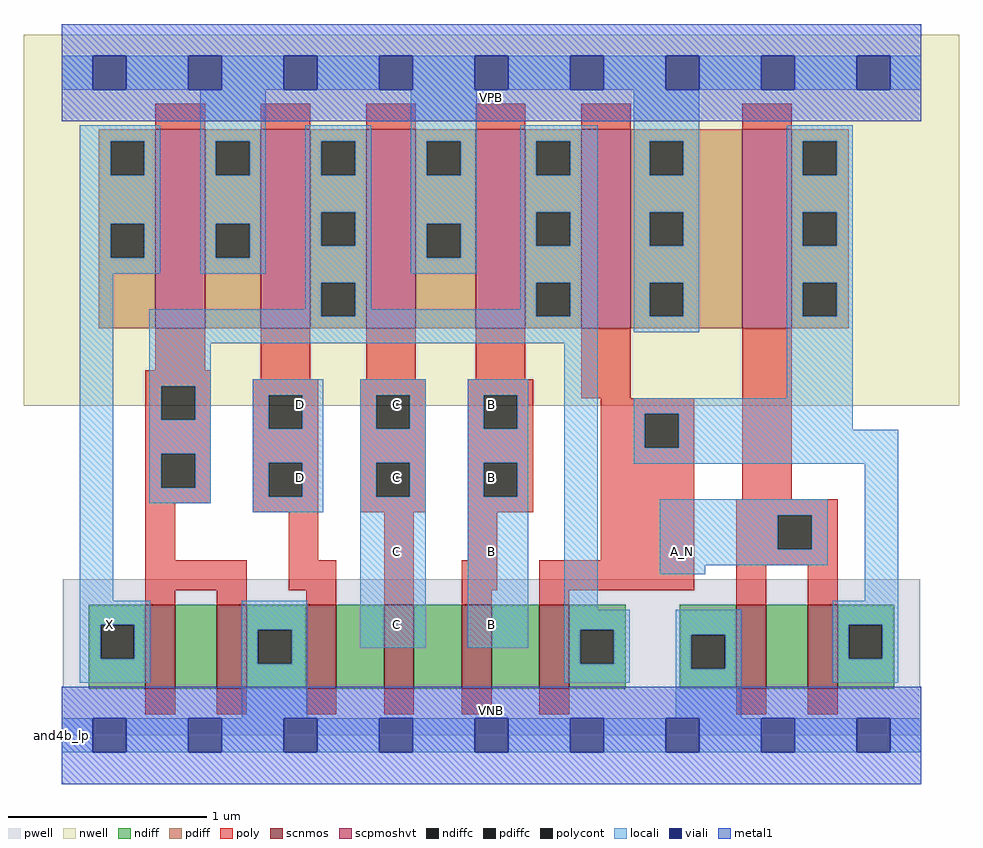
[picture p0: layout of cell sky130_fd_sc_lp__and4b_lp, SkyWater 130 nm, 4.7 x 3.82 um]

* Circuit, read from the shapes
.subckt sky130_fd_sc_lp__and4b_lp A_N B C D VGND VNB VPB VPWR X
XM1 n1 n2 X VNB sky130_fd_pr__nfet_01v8 w=0.42 l=0.15
XM2 VGND n2 n1 VNB sky130_fd_pr__nfet_01v8 w=0.42 l=0.15
XM3 n3 D VGND VNB sky130_fd_pr__nfet_01v8 w=0.42 l=0.15
XM4 n4 C n3 VNB sky130_fd_pr__nfet_01v8 w=0.42 l=0.15
XM5 n5 B n4 VNB sky130_fd_pr__nfet_01v8 w=0.42 l=0.15
XM6 n2 n6 n5 VNB sky130_fd_pr__nfet_01v8 w=0.42 l=0.15
XM7 n7 A_N VGND VNB sky130_fd_pr__nfet_01v8 w=0.42 l=0.15
XM8 n6 A_N n7 VNB sky130_fd_pr__nfet_01v8 w=0.42 l=0.15
XM9 VPWR n2 X VPB sky130_fd_pr__pfet_01v8_hvt w=1 l=0.25
XM10 n2 D VPWR VPB sky130_fd_pr__pfet_01v8_hvt w=1 l=0.25
XM11 VPWR C n2 VPB sky130_fd_pr__pfet_01v8_hvt w=1 l=0.25
XM12 n2 B VPWR VPB sky130_fd_pr__pfet_01v8_hvt w=1 l=0.25
XM13 VPWR n6 n2 VPB sky130_fd_pr__pfet_01v8_hvt w=1 l=0.25
XM14 n6 A_N VPWR VPB sky130_fd_pr__pfet_01v8_hvt w=1 l=0.25
.ends

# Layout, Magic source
magic
tech sky130A
magscale 1 2
<< nwell >>
rect -38 331 902 704
<< pwell >>
rect 1 49 863 157
rect 0 0 864 49
<< scnmos >>
rect 84 47 114 131
rect 156 47 186 131
rect 246 47 276 131
rect 324 47 354 131
rect 402 47 432 131
rect 480 47 510 131
rect 678 47 708 131
rect 750 47 780 131
<< scpmoshvt >>
rect 94 409 144 609
rect 200 409 250 609
rect 306 409 356 609
rect 416 409 466 609
rect 522 409 572 609
rect 684 409 734 609
<< ndiff >>
rect 27 111 84 131
rect 27 77 39 111
rect 73 77 84 111
rect 27 47 84 77
rect 114 47 156 131
rect 186 106 246 131
rect 186 72 197 106
rect 231 72 246 106
rect 186 47 246 72
rect 276 47 324 131
rect 354 47 402 131
rect 432 47 480 131
rect 510 106 567 131
rect 510 72 521 106
rect 555 72 567 106
rect 510 47 567 72
rect 621 101 678 131
rect 621 67 633 101
rect 667 67 678 101
rect 621 47 678 67
rect 708 47 750 131
rect 780 111 837 131
rect 780 77 791 111
rect 825 77 837 111
rect 780 47 837 77
<< pdiff >>
rect 37 597 94 609
rect 37 563 49 597
rect 83 563 94 597
rect 37 514 94 563
rect 37 480 49 514
rect 83 480 94 514
rect 37 409 94 480
rect 144 597 200 609
rect 144 563 155 597
rect 189 563 200 597
rect 144 514 200 563
rect 144 480 155 514
rect 189 480 200 514
rect 144 409 200 480
rect 250 597 306 609
rect 250 563 261 597
rect 295 563 306 597
rect 250 526 306 563
rect 250 492 261 526
rect 295 492 306 526
rect 250 455 306 492
rect 250 421 261 455
rect 295 421 306 455
rect 250 409 306 421
rect 356 597 416 609
rect 356 563 367 597
rect 401 563 416 597
rect 356 514 416 563
rect 356 480 367 514
rect 401 480 416 514
rect 356 409 416 480
rect 466 597 522 609
rect 466 563 477 597
rect 511 563 522 597
rect 466 526 522 563
rect 466 492 477 526
rect 511 492 522 526
rect 466 455 522 492
rect 466 421 477 455
rect 511 421 522 455
rect 466 409 522 421
rect 572 597 684 609
rect 572 563 591 597
rect 625 563 684 597
rect 572 526 684 563
rect 572 492 591 526
rect 625 492 684 526
rect 572 455 684 492
rect 572 421 591 455
rect 625 421 684 455
rect 572 409 684 421
rect 734 597 791 609
rect 734 563 745 597
rect 779 563 791 597
rect 734 526 791 563
rect 734 492 745 526
rect 779 492 791 526
rect 734 455 791 492
rect 734 421 745 455
rect 779 421 791 455
rect 734 409 791 421
<< ndiffc >>
rect 39 77 73 111
rect 197 72 231 106
rect 521 72 555 106
rect 633 67 667 101
rect 791 77 825 111
<< pdiffc >>
rect 49 563 83 597
rect 49 480 83 514
rect 155 563 189 597
rect 155 480 189 514
rect 261 563 295 597
rect 261 492 295 526
rect 261 421 295 455
rect 367 563 401 597
rect 367 480 401 514
rect 477 563 511 597
rect 477 492 511 526
rect 477 421 511 455
rect 591 563 625 597
rect 591 492 625 526
rect 591 421 625 455
rect 745 563 779 597
rect 745 492 779 526
rect 745 421 779 455
<< poly >>
rect 94 609 144 635
rect 200 609 250 635
rect 306 609 356 635
rect 416 609 466 635
rect 522 609 572 635
rect 684 609 734 635
rect 94 367 144 409
rect 84 351 150 367
rect 200 358 250 409
rect 306 358 356 409
rect 416 358 466 409
rect 84 317 100 351
rect 134 317 150 351
rect 84 283 150 317
rect 84 249 100 283
rect 134 249 150 283
rect 84 233 150 249
rect 192 342 258 358
rect 192 308 208 342
rect 242 308 258 342
rect 192 274 258 308
rect 192 240 208 274
rect 242 240 258 274
rect 84 176 114 233
rect 192 224 258 240
rect 300 342 366 358
rect 300 308 316 342
rect 350 308 366 342
rect 300 274 366 308
rect 300 240 316 274
rect 350 240 366 274
rect 300 224 366 240
rect 408 342 474 358
rect 408 308 424 342
rect 458 308 474 342
rect 522 339 572 409
rect 408 274 474 308
rect 408 240 424 274
rect 458 240 474 274
rect 408 224 474 240
rect 542 323 636 339
rect 542 289 586 323
rect 620 289 636 323
rect 228 176 258 224
rect 84 146 186 176
rect 228 146 276 176
rect 84 131 114 146
rect 156 131 186 146
rect 246 131 276 146
rect 324 131 354 224
rect 408 176 438 224
rect 542 176 636 289
rect 684 237 734 409
rect 402 146 438 176
rect 480 146 636 176
rect 678 221 780 237
rect 678 187 720 221
rect 754 187 780 221
rect 678 171 780 187
rect 402 131 432 146
rect 480 131 510 146
rect 678 131 708 171
rect 750 131 780 171
rect 84 21 114 47
rect 156 21 186 47
rect 246 21 276 47
rect 324 21 354 47
rect 402 21 432 47
rect 480 21 510 47
rect 678 21 708 47
rect 750 21 780 47
<< polycont >>
rect 100 317 134 351
rect 100 249 134 283
rect 208 308 242 342
rect 208 240 242 274
rect 316 308 350 342
rect 316 240 350 274
rect 424 308 458 342
rect 424 240 458 274
rect 586 289 620 323
rect 720 187 754 221
<< locali >>
rect 0 649 31 683
rect 65 649 127 683
rect 161 649 223 683
rect 257 649 319 683
rect 353 649 415 683
rect 449 649 511 683
rect 545 649 607 683
rect 641 649 703 683
rect 737 649 799 683
rect 833 649 864 683
rect 18 597 99 613
rect 18 563 49 597
rect 83 563 99 597
rect 18 514 99 563
rect 18 480 49 514
rect 83 480 99 514
rect 18 464 99 480
rect 139 597 205 649
rect 139 563 155 597
rect 189 563 205 597
rect 139 514 205 563
rect 139 480 155 514
rect 189 480 205 514
rect 139 464 205 480
rect 245 597 311 613
rect 245 563 261 597
rect 295 563 311 597
rect 245 526 311 563
rect 245 492 261 526
rect 295 492 311 526
rect 18 135 52 464
rect 245 455 311 492
rect 351 597 417 649
rect 351 563 367 597
rect 401 563 417 597
rect 351 514 417 563
rect 351 480 367 514
rect 401 480 417 514
rect 351 464 417 480
rect 461 597 539 613
rect 461 563 477 597
rect 511 563 539 597
rect 461 526 539 563
rect 461 492 477 526
rect 511 492 539 526
rect 245 428 261 455
rect 88 421 261 428
rect 295 428 311 455
rect 461 455 539 492
rect 461 428 477 455
rect 295 421 477 428
rect 511 421 539 455
rect 88 394 539 421
rect 575 597 641 649
rect 575 563 591 597
rect 625 563 641 597
rect 575 526 641 563
rect 575 492 591 526
rect 625 492 641 526
rect 575 455 641 492
rect 575 421 591 455
rect 625 421 641 455
rect 575 405 641 421
rect 729 597 795 613
rect 729 563 745 597
rect 779 563 795 597
rect 729 526 795 563
rect 729 492 745 526
rect 779 492 795 526
rect 729 455 795 492
rect 729 421 745 455
rect 779 421 795 455
rect 88 351 150 394
rect 88 317 100 351
rect 134 317 150 351
rect 88 283 150 317
rect 88 249 100 283
rect 134 249 150 283
rect 88 233 150 249
rect 192 342 263 358
rect 192 308 208 342
rect 242 308 263 342
rect 192 274 263 308
rect 192 240 208 274
rect 242 240 263 274
rect 192 224 263 240
rect 300 342 366 358
rect 300 308 316 342
rect 350 308 366 342
rect 300 274 366 308
rect 300 240 316 274
rect 350 240 366 274
rect 18 111 89 135
rect 18 77 39 111
rect 73 77 89 111
rect 18 53 89 77
rect 181 106 247 135
rect 181 72 197 106
rect 231 72 247 106
rect 300 88 366 240
rect 408 342 469 358
rect 408 308 424 342
rect 458 308 469 342
rect 408 274 469 308
rect 408 240 424 274
rect 458 240 469 274
rect 408 88 469 240
rect 505 126 539 394
rect 729 339 795 421
rect 575 323 795 339
rect 575 289 586 323
rect 620 307 795 323
rect 620 289 841 307
rect 575 273 841 289
rect 601 221 770 237
rect 601 187 720 221
rect 754 187 770 221
rect 601 171 770 187
rect 601 162 647 171
rect 807 135 841 273
rect 505 106 571 126
rect 181 17 247 72
rect 505 72 521 106
rect 555 72 571 106
rect 505 53 571 72
rect 617 101 683 126
rect 617 67 633 101
rect 667 67 683 101
rect 617 17 683 67
rect 775 111 841 135
rect 775 77 791 111
rect 825 77 841 111
rect 775 53 841 77
rect 0 -17 31 17
rect 65 -17 127 17
rect 161 -17 223 17
rect 257 -17 319 17
rect 353 -17 415 17
rect 449 -17 511 17
rect 545 -17 607 17
rect 641 -17 703 17
rect 737 -17 799 17
rect 833 -17 864 17
<< viali >>
rect 31 649 65 683
rect 127 649 161 683
rect 223 649 257 683
rect 319 649 353 683
rect 415 649 449 683
rect 511 649 545 683
rect 607 649 641 683
rect 703 649 737 683
rect 799 649 833 683
rect 31 -17 65 17
rect 127 -17 161 17
rect 223 -17 257 17
rect 319 -17 353 17
rect 415 -17 449 17
rect 511 -17 545 17
rect 607 -17 641 17
rect 703 -17 737 17
rect 799 -17 833 17
<< metal1 >>
rect 0 683 864 715
rect 0 649 31 683
rect 65 649 127 683
rect 161 649 223 683
rect 257 649 319 683
rect 353 649 415 683
rect 449 649 511 683
rect 545 649 607 683
rect 641 649 703 683
rect 737 649 799 683
rect 833 649 864 683
rect 0 617 864 649
rect 0 17 864 49
rect 0 -17 31 17
rect 65 -17 127 17
rect 161 -17 223 17
rect 257 -17 319 17
rect 353 -17 415 17
rect 449 -17 511 17
rect 545 -17 607 17
rect 641 -17 703 17
rect 737 -17 799 17
rect 833 -17 864 17
rect 0 -49 864 -17
<< labels >>
flabel pwell s 0 0 864 49 0 FreeSans 200 0 0 0 VNB
port 6 nsew ground bidirectional
flabel nwell s 0 617 864 666 0 FreeSans 200 0 0 0 VPB
port 7 nsew power bidirectional
rlabel comment s 0 0 0 0 4 and4b_lp
flabel metal1 s 0 617 864 666 0 FreeSans 340 0 0 0 VPWR
port 8 nsew power bidirectional
flabel metal1 s 0 0 864 49 0 FreeSans 340 0 0 0 VGND
port 5 nsew ground bidirectional
flabel locali s 223 242 257 276 0 FreeSans 340 0 0 0 D
port 4 nsew signal input
flabel locali s 223 316 257 350 0 FreeSans 340 0 0 0 D
port 4 nsew signal input
flabel locali s 415 94 449 128 0 FreeSans 340 0 0 0 B
port 2 nsew signal input
flabel locali s 415 168 449 202 0 FreeSans 340 0 0 0 B
port 2 nsew signal input
flabel locali s 415 242 449 276 0 FreeSans 340 0 0 0 B
port 2 nsew signal input
flabel locali s 415 316 449 350 0 FreeSans 340 0 0 0 B
port 2 nsew signal input
flabel locali s 31 94 65 128 0 FreeSans 340 0 0 0 X
port 9 nsew signal output
flabel locali s 607 168 641 202 0 FreeSans 340 0 0 0 A_N
port 1 nsew signal input
flabel locali s 319 94 353 128 0 FreeSans 340 0 0 0 C
port 3 nsew signal input
flabel locali s 319 168 353 202 0 FreeSans 340 0 0 0 C
port 3 nsew signal input
flabel locali s 319 242 353 276 0 FreeSans 340 0 0 0 C
port 3 nsew signal input
flabel locali s 319 316 353 350 0 FreeSans 340 0 0 0 C
port 3 nsew signal input
<< properties >>
string LEFsite unit
string LEFclass CORE
string FIXED_BBOX 0 0 864 666
string GDS_FILE $PDKPATH/libs.ref/sky130_fd_sc_lp/gds/sky130_fd_sc_lp.gds
string LEFsymmetry X Y R90
string GDS_END 5354008
string GDS_START 5345824
<< end >>
